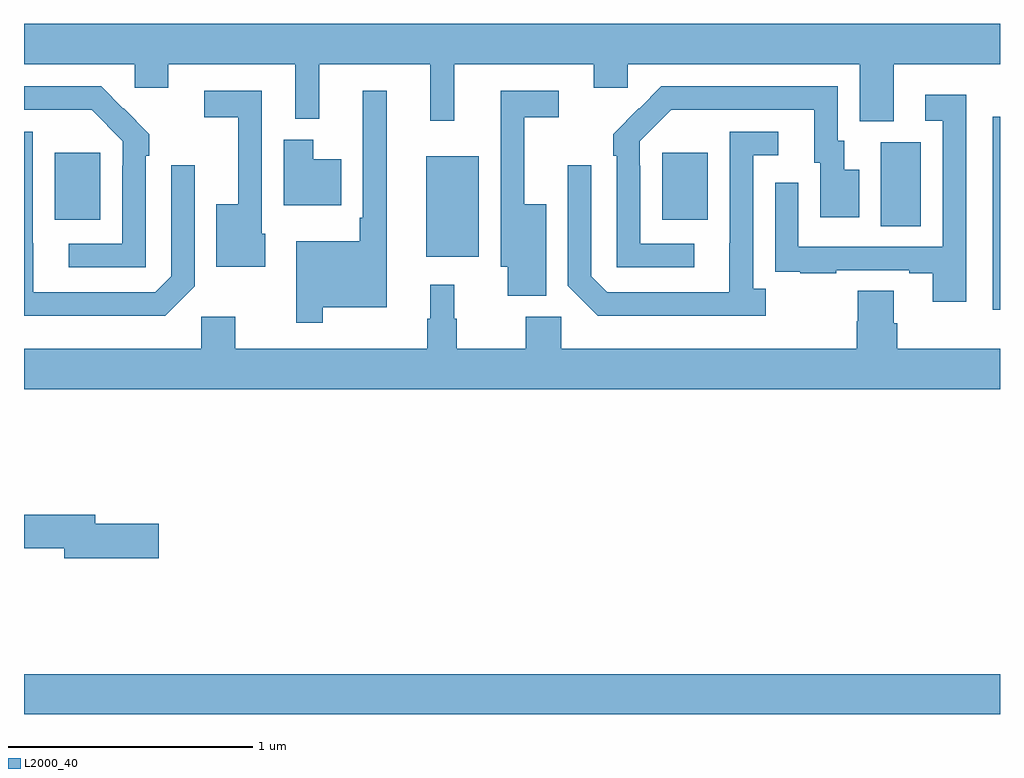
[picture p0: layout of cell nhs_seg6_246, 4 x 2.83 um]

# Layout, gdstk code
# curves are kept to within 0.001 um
import gdstk
lib = gdstk.Library(unit=1e-6, precision=1e-09)
def R(c, l, rs):  # rectangles x0, y0, x1, y1
    for r in rs: c.add(gdstk.rectangle(r[:2], r[2:], *l))
def P(c, l, *ps):  # polygons
    for p in ps: c.add(gdstk.Polygon(p, *l))
L2000_40 = (2000, 40)

nhs_seg6_246 = lib.new_cell('nhs_seg6_246')
R(nhs_seg6_246, L2000_40, [(123,965.984,127,966.148), (126.971,967.641,127,968.432), (124.649,967.859,124.864,968.269), (126.512,967.984,126.676,968.328), (123.125,968.009,123.313,968.284), (125.615,968.009,125.803,968.284)])
P(nhs_seg6_246, L2000_40, [(126.565,968.648),(127,968.648),(127,968.812),(123,968.812),(123,968.648),(123.453,968.648),(123.453,968.55),(123.592,968.55),(123.592,968.648),(124.112,968.648),(124.112,968.423),(124.211,968.423),(124.211,968.648),(124.664,968.648),(124.664,968.415),(124.763,968.415),(124.763,968.648),(125.336,968.648),(125.336,968.55),(125.475,968.55),(125.475,968.648),(126.425,968.648),(126.425,968.413),(126.565,968.413)],
  [(123.498,968.273),(123.513,968.273),(123.513,968.361),(123.316,968.556),(123,968.556),(123,968.46),(123.277,968.46),(123.405,968.331),(123.405,968.231),(123.402,968.231),(123.402,967.911),(123.183,967.911),(123.183,967.815),(123.498,967.815)],
  [(125.746,967.911),(125.526,967.911),(125.526,968.231),(125.523,968.231),(125.523,968.331),(125.652,968.46),(126.239,968.46),(126.239,968.244),(126.263,968.244),(126.263,968.019),(126.424,968.019),(126.424,968.215),(126.361,968.215),(126.361,968.334),(126.336,968.334),(126.336,968.556),(125.612,968.556),(125.415,968.361),(125.415,968.273),(125.43,968.273),(125.43,967.815),(125.746,967.815)],
  [(124.225,967.652),(124.486,967.652),(124.486,968.539),(124.389,968.539),(124.389,968.017),(124.377,968.017),(124.377,967.921),(124.116,967.921),(124.116,967.587),(124.225,967.587)],
  [(125.14,968.074),(125.051,968.074),(125.051,968.43),(125.191,968.43),(125.191,968.538),(124.953,968.538),(124.953,967.817),(124.982,967.817),(124.982,967.698),(125.14,967.698)],
  [(123.988,967.953),(123.975,967.953),(123.975,968.538),(123.738,968.538),(123.738,968.43),(123.878,968.43),(123.878,968.074),(123.788,968.074),(123.788,967.817),(123.988,967.817)],
  [(126.861,968.521),(126.693,968.521),(126.693,968.415),(126.765,968.415),(126.765,967.899),(126.174,967.899),(126.174,968.161),(126.078,968.161),(126.078,967.906),(126.079,967.906),(126.079,967.797),(126.181,967.797),(126.181,967.791),(126.329,967.791),(126.329,967.803),(126.629,967.803),(126.629,967.791),(126.725,967.791),(126.725,967.674),(126.861,967.674)],
  [(126.04,967.726),(125.988,967.726),(125.988,968.274),(126.091,968.274),(126.091,968.37),(125.892,968.37),(125.891,967.713),(125.391,967.713),(125.325,967.779),(125.325,968.233),(125.229,968.233),(125.229,967.739),(125.352,967.616),(126.04,967.616)],
  [(123.699,967.737),(123.699,968.233),(123.603,968.233),(123.603,967.779),(123.537,967.713),(123.037,967.713),(123.037,967.913),(123.036,967.913),(123.036,968.37),(123,968.37),(123,967.616),(123.578,967.616)],
  [(124.3,968.257),(124.186,968.257),(124.186,968.338),(124.064,968.338),(124.064,968.069),(124.3,968.069)],
  [(127,967.48),(126.578,967.48),(126.578,967.586),(126.565,967.586),(126.565,967.718),(126.418,967.718),(126.418,967.593),(126.413,967.593),(126.413,967.48),(125.202,967.48),(125.202,967.612),(125.056,967.612),(125.056,967.48),(124.774,967.48),(124.774,967.604),(124.764,967.604),(124.764,967.744),(124.664,967.744),(124.664,967.604),(124.653,967.604),(124.653,967.48),(123.865,967.48),(123.865,967.612),(123.726,967.612),(123.726,967.48),(123,967.48),(123,967.316),(127,967.316)],
  [(123.553,966.764),(123.292,966.764),(123.292,966.8),(123,966.8),(123,966.664),(123.164,966.664),(123.164,966.622),(123.553,966.622)])

lib.write_gds('nhs_seg6_246.gds')
